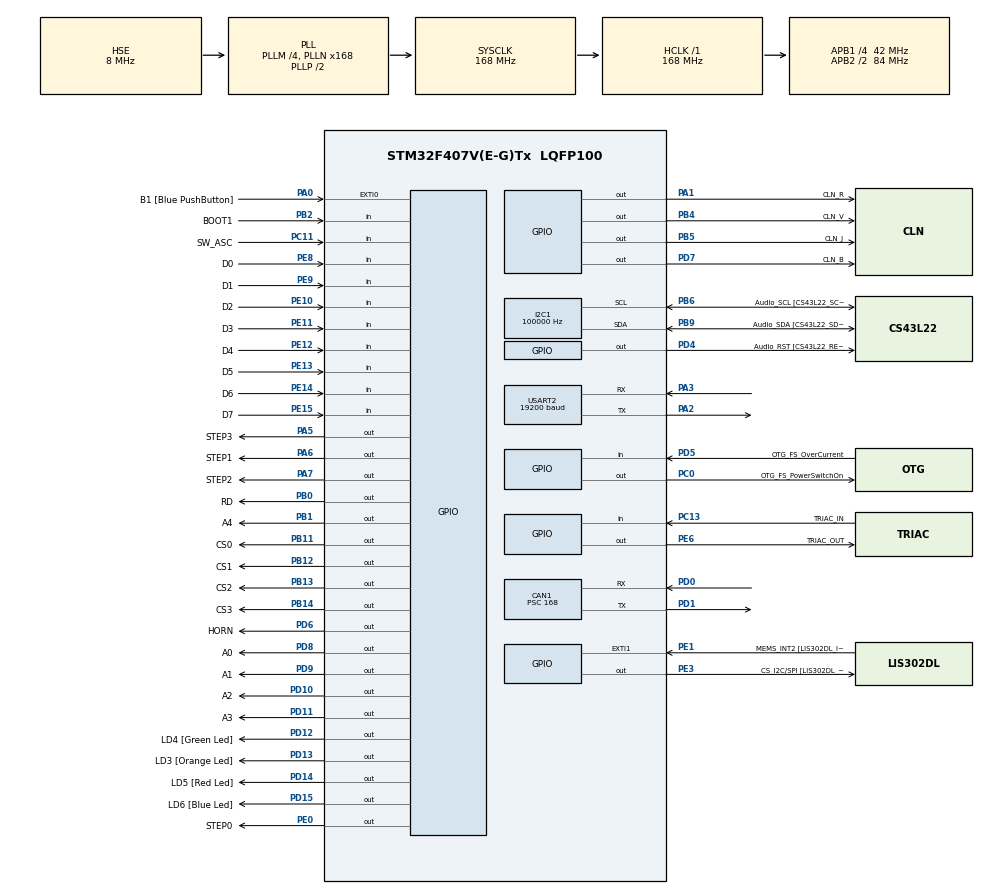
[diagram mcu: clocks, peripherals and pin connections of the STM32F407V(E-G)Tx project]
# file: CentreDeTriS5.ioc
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CAN1.ABOM=ENABLE
CAN1.AWUM=DISABLE
CAN1.BS1=CAN_BS1_3TQ
CAN1.CalculateTimeQuantum=4000.0
CAN1.Prescaler=168
I2C1.ClockSpeed=100000
Mcu.Family=STM32F4
Mcu.Name=STM32F407V(E-G)Tx
Mcu.Package=LQFP100
<<<<<<< HEAD
=======
>>>>>>> 4da58d318c6ea7a702745249341195bc18bc6aac
NVIC.PriorityGroup=NVIC_PRIORITYGROUP_0
NVIC.TIM6_DAC_IRQn=true\:0\:0\:false\:false\:true\:true\:true
PA0-WKUP.GPIO_Label=B1 [Blue PushButton]
PA0-WKUP.Signal=GPXTI0
PA1.GPIO_Label=CLN_R
PA1.Signal=GPIO_Output
PA10.GPIO_Label=OTG_FS_ID
PA10.GPIO_Mode=GPIO_MODE_AF_PP
PA10.GPIO_PuPd=GPIO_NOPULL
PA10.GPIO_Speed=GPIO_SPEED_FREQ_LOW
PA10.Signal=USB_OTG_FS_ID
PA11.GPIO_Label=OTG_FS_DM
PA11.GPIO_Mode=GPIO_MODE_AF_PP
PA11.GPIO_PuPd=GPIO_NOPULL
PA11.GPIO_Speed=GPIO_SPEED_FREQ_LOW
PA11.Signal=USB_OTG_FS_DM
PA12.GPIO_Label=OTG_FS_DP
PA12.GPIO_Mode=GPIO_MODE_AF_PP
PA12.GPIO_PuPd=GPIO_NOPULL
PA12.GPIO_Speed=GPIO_SPEED_FREQ_LOW
PA12.Signal=USB_OTG_FS_DP
PA13.GPIO_Label=SWDIO
PA13.Signal=SYS_JTMS-SWDIO
PA14.GPIO_Label=SWCLK
PA14.Signal=SYS_JTCK-SWCLK
PA2.Mode=Asynchronous
PA2.Signal=USART2_TX
PA3.Mode=Asynchronous
PA3.Signal=USART2_RX
PA4.GPIO_Label=I2S3_WS [CS43L22_LRCK]
PA4.GPIO_Mode=GPIO_MODE_AF_PP
PA4.GPIO_PuPd=GPIO_NOPULL
PA4.GPIO_Speed=GPIO_SPEED_FREQ_LOW
PA4.Signal=I2S3_WS
PA5.GPIO_Label=STEP3
PA5.Signal=GPIO_Output
PA6.GPIO_Label=STEP1
PA6.Signal=GPIO_Output
PA7.GPIO_Label=STEP2
PA7.Signal=GPIO_Output
PA9.GPIO_Label=VBUS_FS
PA9.GPIO_Mode=GPIO_MODE_INPUT
PA9.GPIO_PuPd=GPIO_NOPULL
PA9.Signal=USB_OTG_FS_VBUS
PB0.GPIO_Label=RD
PB0.Signal=GPIO_Output
PB1.GPIO_Label=A4
PB1.Signal=GPIO_Output
PB10.GPIO_Label=CLK_IN [MP45DT02_CLK]
PB10.GPIO_Mode=GPIO_MODE_AF_PP
PB10.GPIO_PuPd=GPIO_NOPULL
PB10.GPIO_Speed=GPIO_SPEED_FREQ_LOW
PB10.Signal=I2S2_CK
PB11.GPIO_Label=CS0
PB11.Signal=GPIO_Output
PB12.GPIO_Label=CS1
PB12.Signal=GPIO_Output
PB13.GPIO_Label=CS2
PB13.Signal=GPIO_Output
PB14.GPIO_Label=CS3
PB14.Signal=GPIO_Output
PB2.GPIO_Label=BOOT1
PB2.GPIO_Mode=GPIO_MODE_INPUT
PB2.GPIO_PuPd=GPIO_NOPULL
PB2.Signal=GPIO_Input
PB3.GPIO_Label=SWO
PB3.Signal=SYS_JTDO-SWO
PB4.GPIO_Label=CLN_V
PB4.Signal=GPIO_Output
PB5.GPIO_Label=CLN_J
PB5.Signal=GPIO_Output
PB6.GPIO_Label=Audio_SCL [CS43L22_SCL]
PB6.GPIO_Mode=GPIO_MODE_AF_OD
PB6.GPIO_PuPd=GPIO_NOPULL
PB6.GPIO_Speed=GPIO_SPEED_FREQ_LOW
PB6.Mode=I2C
PB6.Signal=I2C1_SCL
PB9.GPIO_Label=Audio_SDA [CS43L22_SDA]
PB9.GPIO_Mode=GPIO_MODE_AF_OD
PB9.GPIO_PuPd=GPIO_NOPULL
PB9.GPIO_Speed=GPIO_SPEED_FREQ_LOW
PB9.Mode=I2C
PB9.Signal=I2C1_SDA
PC0.GPIO_Label=OTG_FS_PowerSwitchOn
PC0.GPIO_PuPd=GPIO_NOPULL
PC0.GPIO_Speed=GPIO_SPEED_FREQ_LOW
PC0.PinState=GPIO_PIN_SET
PC0.Signal=GPIO_Output
PC10.GPIO_Label=I2S3_SCK [CS43L22_SCLK]
PC10.GPIO_Mode=GPIO_MODE_AF_PP
PC10.GPIO_PuPd=GPIO_NOPULL
PC10.GPIO_Speed=GPIO_SPEED_FREQ_LOW
PC10.Signal=I2S3_CK
<<<<<<< HEAD
PC11.GPIO_Label=SW_ASC
=======
>>>>>>> 4da58d318c6ea7a702745249341195bc18bc6aac
PC11.Signal=GPIO_Input
PC12.GPIO_Label=I2S3_SD [CS43L22_SDIN]
PC12.GPIO_Mode=GPIO_MODE_AF_PP
PC12.GPIO_PuPd=GPIO_NOPULL
PC12.GPIO_Speed=GPIO_SPEED_FREQ_LOW
PC12.Signal=I2S3_SD
PC13-ANTI_TAMP.GPIO_Label=TRIAC_IN
PC13-ANTI_TAMP.Signal=GPIO_Input
PC14-OSC32_IN.GPIO_Label=PC14-OSC32_IN
PC14-OSC32_IN.Signal=RCC_OSC32_IN
PC15-OSC32_OUT.GPIO_Label=PC15-OSC32_OUT
PC15-OSC32_OUT.Signal=RCC_OSC32_OUT
PC3.GPIO_Label=PDM_OUT [MP45DT02_DOUT]
PC3.GPIO_Mode=GPIO_MODE_AF_PP
PC3.GPIO_PuPd=GPIO_NOPULL
PC3.GPIO_Speed=GPIO_SPEED_FREQ_LOW
PC3.Signal=I2S2_SD
PC7.GPIO_Label=I2S3_MCK [CS43L22_MCLK]
PC7.GPIO_Mode=GPIO_MODE_AF_PP
PC7.GPIO_PuPd=GPIO_NOPULL
PC7.GPIO_Speed=GPIO_SPEED_FREQ_LOW
PC7.Signal=I2S3_MCK
PD0.Mode=Master
PD0.Signal=CAN1_RX
PD1.Mode=Master
PD1.Signal=CAN1_TX
PD10.GPIO_Label=A2
PD10.Signal=GPIO_Output
PD11.GPIO_Label=A3
PD11.Signal=GPIO_Output
PD12.GPIO_Label=LD4 [Green Led]
PD12.GPIO_PuPd=GPIO_NOPULL
PD12.GPIO_Speed=GPIO_SPEED_FREQ_LOW
PD12.Signal=GPIO_Output
PD13.GPIO_Label=LD3 [Orange Led]
PD13.GPIO_PuPd=GPIO_NOPULL
PD13.GPIO_Speed=GPIO_SPEED_FREQ_LOW
PD13.Signal=GPIO_Output
PD14.GPIO_Label=LD5 [Red Led]
PD14.GPIO_PuPd=GPIO_NOPULL
PD14.GPIO_Speed=GPIO_SPEED_FREQ_LOW
PD14.Signal=GPIO_Output
PD15.GPIO_Label=LD6 [Blue Led]
PD15.GPIO_PuPd=GPIO_NOPULL
PD15.GPIO_Speed=GPIO_SPEED_FREQ_LOW
PD15.Signal=GPIO_Output
PD4.GPIO_Label=Audio_RST [CS43L22_RESET]
PD4.GPIO_PuPd=GPIO_NOPULL
PD4.GPIO_Speed=GPIO_SPEED_FREQ_LOW
PD4.Signal=GPIO_Output
PD5.GPIO_Label=OTG_FS_OverCurrent
PD5.GPIO_Mode=GPIO_MODE_INPUT
PD5.GPIO_PuPd=GPIO_NOPULL
PD5.Signal=GPIO_Input
PD6.GPIO_Label=HORN
PD6.Signal=GPIO_Output
PD7.GPIO_Label=CLN_B
PD7.Signal=GPIO_Output
PD8.GPIO_Label=A0
PD8.Signal=GPIO_Output
PD9.GPIO_Label=A1
PD9.Signal=GPIO_Output
PE0.GPIO_Label=STEP0
PE0.Signal=GPIO_Output
PE1.GPIO_Label=MEMS_INT2 [LIS302DL_INT2]
PE1.GPIO_ModeDefaultEXTI=GPIO_MODE_EVT_RISING
PE1.GPIO_PuPd=GPIO_NOPULL
PE1.Signal=GPXTI1
PE10.GPIO_Label=D2
PE10.Signal=GPIO_Input
PE11.GPIO_Label=D3
PE11.Signal=GPIO_Input
PE12.GPIO_Label=D4
PE12.Signal=GPIO_Input
PE13.GPIO_Label=D5
PE13.Signal=GPIO_Input
PE14.GPIO_Label=D6
PE14.Signal=GPIO_Input
PE15.GPIO_Label=D7
PE15.Signal=GPIO_Input
PE3.GPIO_Label=CS_I2C/SPI [LIS302DL_CS_I2C/SPI]
PE3.GPIO_PuPd=GPIO_NOPULL
PE3.GPIO_Speed=GPIO_SPEED_FREQ_LOW
PE3.Signal=GPIO_Output
PE6.GPIO_Label=TRIAC_OUT
PE6.Signal=GPIO_Output
PE8.GPIO_Label=D0
PE8.Signal=GPIO_Input
PE9.GPIO_Label=D1
PE9.Signal=GPIO_Input
PH0-OSC_IN.GPIO_Label=PH0-OSC_IN
PH0-OSC_IN.Mode=HSE-External-Oscillator
PH0-OSC_IN.Signal=RCC_OSC_IN
PH1-OSC_OUT.GPIO_Label=PH1-OSC_OUT
PH1-OSC_OUT.Mode=HSE-External-Oscillator
PH1-OSC_OUT.Signal=RCC_OSC_OUT
ProjectManager.HeapSize=0x1100
ProjectManager.StackSize=0x1000
ProjectManager.TargetToolchain=EWARM V7
RCC.48MHZClocksFreq_Value=48000000
RCC.AHBFreq_Value=168000000
RCC.APB1CLKDivider=RCC_HCLK_DIV4
RCC.APB1Freq_Value=42000000
RCC.APB1TimFreq_Value=84000000
RCC.APB2CLKDivider=RCC_HCLK_DIV2
RCC.APB2Freq_Value=84000000
RCC.APB2TimFreq_Value=168000000
RCC.CortexFreq_Value=168000000
RCC.HCLKFreq_Value=168000000
RCC.HSE_VALUE=8000000
RCC.HSI_VALUE=16000000
RCC.LSE_VALUE=32768
RCC.PLLM=4
RCC.PLLN=168
RCC.PLLQ=7
RCC.PLLSourceVirtual=RCC_PLLSOURCE_HSE
RCC.SYSCLKFreq_VALUE=168000000
RCC.SYSCLKSource=RCC_SYSCLKSOURCE_PLLCLK
RCC.VCOOutputFreq_Value=336000000
TIM6.Period=PILOTETIMER6UP_COMPTE_MAXIMAL
TIM6.TIM_MasterOutputTrigger=TIM_TRGO_ENABLE
USART2.BaudRate=19200
USART2.VirtualMode=VM_ASYNC
VP_TIM6_VS_ClockSourceINT.Mode=Enable_Timer
board=STM32F407G-DISC1

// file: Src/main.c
/* USER CODE BEGIN Header */
/**
 ******************************************************************************
 * @file           : main.c
 * @brief          : Main program body
 ******************************************************************************
 * @attention
 *
 * <h2><center>&copy; Copyright (c) 2019 STMicroelectronics.
 * All rights reserved.</center></h2>
 *
 * This software component is licensed by ST under BSD 3-Clause license,
 * the "License"; You may not use this file except in compliance with the
 * License. You may obtain a copy of the License at:
 *                        opensource.org/licenses/BSD-3-Clause
 *
 ******************************************************************************
 */
/* USER CODE END Header */

#include "main.h"

/* USER CODE BEGIN Includes */
// S-0010:
// Historique:
//  2019-10-27, Yves Roy, creation

// notes sur l'utilisation des timers.
//  https://www.st.com/content/ccc/resource/technical/document/application_note/group0/91/01/84/3f/7c/67/41/3f/DM00236305/files/DM00236305.pdf/jcr:content/translations/en.DM00236305.pdf
// https://stm32f4-discovery.net/2014/05/stm32f4-stm32f429-discovery-pwm-tutorial/
// timer 6 sur APB1
// timer_tick_frequency = Timer_default_frequency / (prescaller_set + 1)
// default_frequency = 84MHz compte tenu des options choisies avec le "cube"
// TIM_Period = timer_tick_frequency / TIM_frequency - 1
// il faut s'assurer que le compte pour la periode est plus petit que 65536

#include "piloteTimer6Up.h"
#include "piloteCAN1.h"
#include "piloteUSART2.h"
#include "piloteIOB1.h"
#include "piloteIOT1.h"
#include "piloteIOT2.h"
#include "piloteIOT3.h"
#include "piloteIOT4.h"
#include "serviceBaseDeTemps.h"
//#include "serviceProtocole637.h"
#include "interfaceB1.h"
#include "interfaceT1.h"
#include "interfaceT2.h"
#include "interfaceT3.h"
#include "interfaceT4.h"
//#include "processusBoutonConnecte.h"
#include "processusUsine.h"
#include "interfaceUsine.h"
#include "interfaceAscenseur.h"
#include "piloteLcd.h"
#include "interfaceLcd.h"
#include "interfaceCAN1.h"
#include "ServiceCommunication.h"
#include "interfaceColonne.h"
#include "piloteColonne.h"
#include "interfaceB1.h"
#include "interfaceStepMoteur.h"
#include "piloteStepMoteur.h"
//#include "stm32f4xx_hal_conf.h"
//#include "stm32f4xx_it.h"
/* USER CODE END Includes */

#define JAUNE  STEP0_Pin
#define BLANC  STEP1_Pin
#define ORANGE STEP2_Pin
#define ROUGE  STEP3_Pin

/* USER CODE END PTD */

CAN_HandleTypeDef hcan1;

I2C_HandleTypeDef hi2c1;

TIM_HandleTypeDef htim6;

UART_HandleTypeDef huart2;

/* USER CODE BEGIN PV */
/* Private variables ---------------------------------------------------------*/

/* USER CODE END PV */

void SystemClock_Config(void);
static void MX_GPIO_Init(void);
static void MX_USART2_UART_Init(void);
static void MX_TIM6_Init(void);
static void MX_CAN1_Init(void);
static void MX_I2C1_Init(void);
/* USER CODE BEGIN PFP */
/* Private function prototypes -----------------------------------------------*/
void main_initialiseAvantLeHAL(void);
void main_initialiseApresLeHAL(void);

/* USER CODE END PFP */

/* USER CODE BEGIN 0 */
void main_initialiseAvantLeHAL(void)
{
  piloteTimer6Up_initialise();
<<<<<<< HEAD
  serviceBaseDeTemps_initialise();
  // piloteCAN1_initialise(); //irait ici en temps normal... mais il y a un bug dans le cube
  // piloteUSART2_initialise();
  piloteIOB1_initialise();
  piloteIOT1_initialise();
  piloteIOT2_initialise();
  piloteIOT3_initialise();
  piloteIOT4_initialise();

  interfaceT1_initialise();
  interfaceT2_initialise();
  interfaceT3_initialise();
  interfaceT4_initialise();

  interfaceB1_initialise();
  interfaceColonne_initialise();
  interfaceUsine_Initialise();
  interfaceStepMoteur_initialise();
=======
//  serviceBaseDeTemps_initialise();
//  // piloteCAN1_initialise(); //irait ici en temps normal... mais il y a un bug dans le cube
//  // piloteUSART2_initialise();
//  piloteIOB1_initialise();
//  piloteIOT1_initialise();
//  piloteIOT2_initialise();
//  piloteIOT3_initialise();
//  piloteIOT4_initialise();
//
//  interfaceT1_initialise();
//  interfaceT2_initialise();
//  interfaceT3_initialise();
//  interfaceT4_initialise();
//  interfaceAscenseur_initialise();
//
//  interfaceB1_initialise();
//  interfaceColonne_initialise();
//  interfaceUsine_Initialise();
>>>>>>> 4da58d318c6ea7a702745249341195bc18bc6aac
}

void main_initialiseApresLeHAL(void)
{

  piloteTimer6Up_permetLesInterruptions();
  piloteCAN1_initialise();
  ServiceCommunication_initialise();
  vInitGLcd();
  interfaceLcd_Clear_Swipe(0);
  processusUsine_initialise();
}

void neFaitRien(void)
{
}

// Variables globales
bool bFlagUpdateMessageEcran;
bool bFlagUpdateEtatEcran;
bool bFlagUpdateModeEcran;
bool flagTexteFini = 0;
char messageEcran[40];
char etatEcran[20];
char modeEcran[20];
/* USER CODE END 0 */

int main(void)
{
  /* USER CODE BEGIN 1 */
  main_initialiseAvantLeHAL();

  /* USER CODE END 1 */

  /* MCU Configuration--------------------------------------------------------*/

  /* Reset of all peripherals, Initializes the Flash interface and the Systick. */
  HAL_Init();

  /* Configure the system clock */
  SystemClock_Config();

  /* Initialize all configured peripherals */
  MX_GPIO_Init();
  MX_USART2_UART_Init();
  MX_TIM6_Init();
  MX_CAN1_Init();
  MX_I2C1_Init();
  /* USER CODE BEGIN 2 */
  main_initialiseApresLeHAL();

  /* USER CODE END 2 */

  /* Infinite loop */
  /* USER CODE BEGIN WHILE */
<<<<<<< HEAD
  interfaceColonne_allume(INTERFACECOLONNE_ROUGE);
  interfaceColonne_allume(INTERFACECOLONNE_VERT);
  interfaceColonne_allume(INTERFACECOLONNE_JAUNE);

  interfaceLcd_Draw_Shape_RectF(0,43,128,2,1);
  interfaceLcd_Draw_Shape_RectF(0,27,128,2,1);
  interfaceLcd_Draw_Shape_RectF(0,11,128,2,1);
  vPutStringGLcd("Mode:               ", 4, 5);
  vPutStringGLcd("Etat:Attend Bouton  ", 2, 5);
  //unsigned char oldBruh = 0;
  while (1)
  {
    piloteTimer6Up_permetLesInterruptions();

=======
//  interfaceColonne_allume(INTERFACECOLONNE_ROUGE);
//  interfaceColonne_allume(INTERFACECOLONNE_VERT);
//  interfaceColonne_allume(INTERFACECOLONNE_JAUNE);
//
//
//  interfaceLcd_Draw_Shape_RectF(0,0,127,10,1);
//  interfaceLcd_Draw_Shape_RectF(0,43,128,2,1);
//  interfaceLcd_Draw_Shape_RectF(0,27,128,2,1);
//  vPutStringGLcd("Mode:               ", 4, 5);
//  vPutStringGLcd("Etat:Attend Bouton  ", 2, 5);
  unsigned char oldBruh = 0;

  while (1)
  {
    if(oldBruh == 1)
    {
    HAL_GPIO_WritePin(STEP0_GPIO_Port, STEP0_Pin, (GPIO_PinState)0);  //1
    HAL_GPIO_WritePin(STEP1_GPIO_Port, STEP1_Pin, (GPIO_PinState)0);
    HAL_GPIO_WritePin(STEP2_GPIO_Port, STEP2_Pin, (GPIO_PinState)0);
    HAL_GPIO_WritePin(STEP3_GPIO_Port, STEP3_Pin, (GPIO_PinState)1);
    HAL_Delay(100);//descend
    HAL_GPIO_WritePin(STEP0_GPIO_Port, STEP0_Pin, (GPIO_PinState)0);  //2
    HAL_GPIO_WritePin(STEP1_GPIO_Port, STEP1_Pin, (GPIO_PinState)0);
    HAL_GPIO_WritePin(STEP2_GPIO_Port, STEP2_Pin, (GPIO_PinState)1);
    HAL_GPIO_WritePin(STEP3_GPIO_Port, STEP3_Pin, (GPIO_PinState)0);
    HAL_Delay(100);
    HAL_GPIO_WritePin(STEP0_GPIO_Port, STEP0_Pin, (GPIO_PinState)0);  //3
    HAL_GPIO_WritePin(STEP1_GPIO_Port, STEP1_Pin, (GPIO_PinState)1);
    HAL_GPIO_WritePin(STEP2_GPIO_Port, STEP2_Pin, (GPIO_PinState)0);
    HAL_GPIO_WritePin(STEP3_GPIO_Port, STEP3_Pin, (GPIO_PinState)0);
    HAL_Delay(100);
    HAL_GPIO_WritePin(STEP0_GPIO_Port, STEP0_Pin, (GPIO_PinState)1);  //4
    HAL_GPIO_WritePin(STEP1_GPIO_Port, STEP1_Pin, (GPIO_PinState)0);
    HAL_GPIO_WritePin(STEP2_GPIO_Port, STEP2_Pin, (GPIO_PinState)0);
    HAL_GPIO_WritePin(STEP3_GPIO_Port, STEP3_Pin, (GPIO_PinState)0);
    HAL_Delay(100);
    }
    else
    {
    HAL_GPIO_WritePin(STEP0_GPIO_Port, STEP0_Pin, (GPIO_PinState)1);  //1
    HAL_GPIO_WritePin(STEP1_GPIO_Port, STEP1_Pin, (GPIO_PinState)0);
    HAL_GPIO_WritePin(STEP2_GPIO_Port, STEP2_Pin, (GPIO_PinState)0);
    HAL_GPIO_WritePin(STEP3_GPIO_Port, STEP3_Pin, (GPIO_PinState)0);
    HAL_Delay(100);
    HAL_GPIO_WritePin(STEP0_GPIO_Port, STEP0_Pin, (GPIO_PinState)0);  //1
    HAL_GPIO_WritePin(STEP1_GPIO_Port, STEP1_Pin, (GPIO_PinState)1);
    HAL_GPIO_WritePin(STEP2_GPIO_Port, STEP2_Pin, (GPIO_PinState)0);
    HAL_GPIO_WritePin(STEP3_GPIO_Port, STEP3_Pin, (GPIO_PinState)0);
    HAL_Delay(100);
    HAL_GPIO_WritePin(STEP0_GPIO_Port, STEP0_Pin, (GPIO_PinState)0);  //1
    HAL_GPIO_WritePin(STEP1_GPIO_Port, STEP1_Pin, (GPIO_PinState)0);
    HAL_GPIO_WritePin(STEP2_GPIO_Port, STEP2_Pin, (GPIO_PinState)1);
    HAL_GPIO_WritePin(STEP3_GPIO_Port, STEP3_Pin, (GPIO_PinState)0);
    HAL_Delay(100);
    HAL_GPIO_WritePin(STEP0_GPIO_Port, STEP0_Pin, (GPIO_PinState)0);  //1
    HAL_GPIO_WritePin(STEP1_GPIO_Port, STEP1_Pin, (GPIO_PinState)0);
    HAL_GPIO_WritePin(STEP2_GPIO_Port, STEP2_Pin, (GPIO_PinState)0);
    HAL_GPIO_WritePin(STEP3_GPIO_Port, STEP3_Pin, (GPIO_PinState)1);
    HAL_Delay(100);//descend
    }
  }

    /*
>>>>>>> 4da58d318c6ea7a702745249341195bc18bc6aac
    //Test du step moteur
    /*
    piloteStepMoteur_EcritSortie(PILOTESTEPMOTEUR_STEP0, PILOTESTEPMOTEUR_ACTIVE);
    piloteStepMoteur_EcritSortie(PILOTESTEPMOTEUR_STEP1, PILOTESTEPMOTEUR_ACTIVE);
    piloteStepMoteur_EcritSortie(PILOTESTEPMOTEUR_STEP2, PILOTESTEPMOTEUR_ACTIVE);
    piloteStepMoteur_EcritSortie(PILOTESTEPMOTEUR_STEP3, PILOTESTEPMOTEUR_ACTIVE);
    */
<<<<<<< HEAD
    if (bFlagUpdateMessageEcran)
    {
      flagTexteFini = 0;
      for (int i = 0; i <= 39; i++)
      {
        if (i <= 19)
        {
          if (!flagTexteFini)vPutCharGLcd(messageEcran[i], 6, i, 5);
          else vPutCharGLcd(' ', 6, i, 5);
        }
        else if (i <= (39))
        {
          if (!flagTexteFini)vPutCharGLcd(messageEcran[i], 7, i - 20, 5);
          else vPutCharGLcd(' ', 7, i - 20, 5);
        }
        if (messageEcran[i + 1] == '\0')flagTexteFini = 1;
      }
      bFlagUpdateMessageEcran = 0;
    }

    if (bFlagUpdateEtatEcran)
    {
      flagTexteFini = 0;
      for (int i = 0; i+5 <= 19; i++)
      {
        if (!flagTexteFini)vPutCharGLcd(etatEcran[i], 2, i+5, 5);
        else vPutCharGLcd(' ', 2, i+5, 5);
        if (etatEcran[i + 1] == '\0') flagTexteFini = 1;
      }
      bFlagUpdateEtatEcran = 0;
    }

    if (bFlagUpdateModeEcran)
    {
      flagTexteFini = 0;
      for (int i = 0; i+5 <= 19; i++)
      {
        if (!flagTexteFini)vPutCharGLcd(modeEcran[i], 4, i+5, 5);
        else vPutCharGLcd(' ', 4, i+5, 5);
        if (modeEcran[i + 1] == '\0') flagTexteFini = 1;
      }
      bFlagUpdateModeEcran = 0;
    }

    //Affichage de l'état du CAN
    if (!ModuleData.CantConnect) // Pas connecté
    {
      vPutStringGLcd("CAN Connected       ", 0, 5);
    }
    else
    {
      vPutStringGLcd("CAN Disconnected    ", 0, 5);
    }

    //interfaceLcd_Draw_Text_Integer(0,32,ModuleData.Mode,2,1);

    /* USER CODE END WHILE */

  }
=======
//    if (bFlagUpdateMessageEcran)
//    {
//      flagTexteFini = 0;
//      for (int i = 0; i <= 39; i++)
//      {
//        if (i <= 19)
//        {
//          if (!flagTexteFini)vPutCharGLcd(messageEcran[i], 6, i, 5);
//          else vPutCharGLcd(' ', 6, i, 5);
//        }
//        else if (i <= (39))
//        {
//          if (!flagTexteFini)vPutCharGLcd(messageEcran[i], 7, i - 20, 5);
//          else vPutCharGLcd(' ', 7, i - 20, 5);
//        }
//        if (messageEcran[i + 1] == '\0')flagTexteFini = 1;
//      }
//      bFlagUpdateMessageEcran = 0;
//    }
//
//    if (bFlagUpdateEtatEcran)
//    {
//      flagTexteFini = 0;
//      for (int i = 0; i+5 <= 19; i++)
//      {
//        if (!flagTexteFini)vPutCharGLcd(etatEcran[i], 2, i+5, 5);
//        else vPutCharGLcd(' ', 2, i+5, 5);
//        if (etatEcran[i + 1] == '\0') flagTexteFini = 1;
//      }
//      bFlagUpdateEtatEcran = 0;
//    }
//
//    if (bFlagUpdateModeEcran)
//    {
//      flagTexteFini = 0;
//      for (int i = 0; i+5 <= 19; i++)
//      {
//        if (!flagTexteFini)vPutCharGLcd(modeEcran[i], 4, i+5, 5);
//        else vPutCharGLcd(' ', 4, i+5, 5);
//        if (modeEcran[i + 1] == '\0') flagTexteFini = 1;
//      }
//      bFlagUpdateModeEcran = 0;
//    }
//
//    //Affichage de l'état du CAN
//    if (!ModuleData.CantConnect) // Pas connecté
//    {
//      vPutStringGLcdINV("CAN Connected       ", 0, 5);
//    }
//    else
//    {
//      vPutStringGLcdINV("CAN Disconnected    ", 0, 5);
//    }
//
//     if (piloteCAN1_messageDisponible()) // Pas connecté
//    {
//      //vPutStringGLcdINV("Message disponible  ", 2, 5);
//    }
//    else
//    {
//      //vPutStringGLcdINV("No Message?         ", 2, 5);
//    }
//
//    if(true)
//    {
//      unsigned int bruh = piloteCAN1_litLesErreurs();
//      static unsigned char index = 0;
//
//      if(bruh != oldBruh)
//      {
//        interfaceLcd_Draw_Text_Integer(32,16+(6*index),bruh,3,1);
//        index++;
//        oldBruh = bruh;
//      }
//    }
//
//    //interfaceLcd_Draw_Text_Integer(0,32,ModuleData.Mode,2,1);
//
//    /* USER CODE END WHILE */
//
//    /* USER CODE BEGIN 3 */
//  }
//  /* USER CODE END 3 */

>>>>>>> 4da58d318c6ea7a702745249341195bc18bc6aac
}

void SystemClock_Config(void)
{
  RCC_OscInitTypeDef RCC_OscInitStruct = {0};
  RCC_ClkInitTypeDef RCC_ClkInitStruct = {0};

  /** Configure the main internal regulator output voltage
  */
  __HAL_RCC_PWR_CLK_ENABLE();
  __HAL_PWR_VOLTAGESCALING_CONFIG(PWR_REGULATOR_VOLTAGE_SCALE1);
  /** Initializes the CPU, AHB and APB busses clocks
  */
  RCC_OscInitStruct.OscillatorType = RCC_OSCILLATORTYPE_HSE;
  RCC_OscInitStruct.HSEState = RCC_HSE_ON;
  RCC_OscInitStruct.PLL.PLLState = RCC_PLL_ON;
  RCC_OscInitStruct.PLL.PLLSource = RCC_PLLSOURCE_HSE;
  RCC_OscInitStruct.PLL.PLLM = 4;
  RCC_OscInitStruct.PLL.PLLN = 168;
  RCC_OscInitStruct.PLL.PLLP = RCC_PLLP_DIV2;
  RCC_OscInitStruct.PLL.PLLQ = 7;
  if (HAL_RCC_OscConfig(&RCC_OscInitStruct) != HAL_OK)
  {
    Error_Handler();
  }
  /** Initializes the CPU, AHB and APB busses clocks
  */
  RCC_ClkInitStruct.ClockType = RCC_CLOCKTYPE_HCLK|RCC_CLOCKTYPE_SYSCLK
                              |RCC_CLOCKTYPE_PCLK1|RCC_CLOCKTYPE_PCLK2;
  RCC_ClkInitStruct.SYSCLKSource = RCC_SYSCLKSOURCE_PLLCLK;
  RCC_ClkInitStruct.AHBCLKDivider = RCC_SYSCLK_DIV1;
  RCC_ClkInitStruct.APB1CLKDivider = RCC_HCLK_DIV4;
  RCC_ClkInitStruct.APB2CLKDivider = RCC_HCLK_DIV2;

  if (HAL_RCC_ClockConfig(&RCC_ClkInitStruct, FLASH_LATENCY_5) != HAL_OK)
  {
    Error_Handler();
  }
}

static void MX_CAN1_Init(void)
{

  hcan1.Instance = CAN1;
  hcan1.Init.Prescaler = 168;
  hcan1.Init.Mode = CAN_MODE_NORMAL;
  hcan1.Init.SyncJumpWidth = CAN_SJW_1TQ;
  hcan1.Init.TimeSeg1 = CAN_BS1_3TQ;
  hcan1.Init.TimeSeg2 = CAN_BS2_1TQ;
  hcan1.Init.TimeTriggeredMode = DISABLE;
  hcan1.Init.AutoBusOff = ENABLE;
  hcan1.Init.AutoWakeUp = DISABLE;
  hcan1.Init.AutoRetransmission = DISABLE;
  hcan1.Init.ReceiveFifoLocked = DISABLE;
  hcan1.Init.TransmitFifoPriority = DISABLE;
  if (HAL_CAN_Init(&hcan1) != HAL_OK)
  {
    Error_Handler();
  }

}

static void MX_I2C1_Init(void)
{

  hi2c1.Instance = I2C1;
  hi2c1.Init.ClockSpeed = 100000;
  hi2c1.Init.DutyCycle = I2C_DUTYCYCLE_2;
  hi2c1.Init.OwnAddress1 = 0;
  hi2c1.Init.AddressingMode = I2C_ADDRESSINGMODE_7BIT;
  hi2c1.Init.DualAddressMode = I2C_DUALADDRESS_DISABLE;
  hi2c1.Init.OwnAddress2 = 0;
  hi2c1.Init.GeneralCallMode = I2C_GENERALCALL_DISABLE;
  hi2c1.Init.NoStretchMode = I2C_NOSTRETCH_DISABLE;
  if (HAL_I2C_Init(&hi2c1) != HAL_OK)
  {
    Error_Handler();
  }

}

static void MX_TIM6_Init(void)
{

  TIM_MasterConfigTypeDef sMasterConfig = {0};

  htim6.Instance = TIM6;
  htim6.Init.Prescaler = 0;
  htim6.Init.CounterMode = TIM_COUNTERMODE_UP;
  htim6.Init.Period = PILOTETIMER6UP_COMPTE_MAXIMAL;
  htim6.Init.AutoReloadPreload = TIM_AUTORELOAD_PRELOAD_DISABLE;
  if (HAL_TIM_Base_Init(&htim6) != HAL_OK)
  {
    Error_Handler();
  }
  sMasterConfig.MasterOutputTrigger = TIM_TRGO_ENABLE;
  sMasterConfig.MasterSlaveMode = TIM_MASTERSLAVEMODE_DISABLE;
  if (HAL_TIMEx_MasterConfigSynchronization(&htim6, &sMasterConfig) != HAL_OK)
  {
    Error_Handler();
  }

}

static void MX_USART2_UART_Init(void)
{

  huart2.Instance = USART2;
  huart2.Init.BaudRate = 19200;
  huart2.Init.WordLength = UART_WORDLENGTH_8B;
  huart2.Init.StopBits = UART_STOPBITS_1;
  huart2.Init.Parity = UART_PARITY_NONE;
  huart2.Init.Mode = UART_MODE_TX_RX;
  huart2.Init.HwFlowCtl = UART_HWCONTROL_NONE;
  huart2.Init.OverSampling = UART_OVERSAMPLING_16;
  if (HAL_UART_Init(&huart2) != HAL_OK)
  {
    Error_Handler();
  }

}

static void MX_GPIO_Init(void)
{
  GPIO_InitTypeDef GPIO_InitStruct = {0};

  /* GPIO Ports Clock Enable */
  __HAL_RCC_GPIOE_CLK_ENABLE();
  __HAL_RCC_GPIOC_CLK_ENABLE();
  __HAL_RCC_GPIOH_CLK_ENABLE();
  __HAL_RCC_GPIOA_CLK_ENABLE();
  __HAL_RCC_GPIOB_CLK_ENABLE();
  __HAL_RCC_GPIOD_CLK_ENABLE();

  /*Configure GPIO pin Output Level */
  HAL_GPIO_WritePin(GPIOE, CS_I2C_SPI_Pin|TRIAC_OUT_Pin|STEP0_Pin, GPIO_PIN_RESET);

  /*Configure GPIO pin Output Level */
  HAL_GPIO_WritePin(OTG_FS_PowerSwitchOn_GPIO_Port, OTG_FS_PowerSwitchOn_Pin, GPIO_PIN_SET);

  /*Configure GPIO pin Output Level */
  HAL_GPIO_WritePin(GPIOA, CLN_R_Pin|STEP3_Pin|STEP1_Pin|STEP2_Pin, GPIO_PIN_RESET);

  /*Configure GPIO pin Output Level */
  HAL_GPIO_WritePin(GPIOB, RD_Pin|A4_Pin|CS0_Pin|CS1_Pin
                          |CS2_Pin|CS3_Pin|CLN_V_Pin|CLN_J_Pin, GPIO_PIN_RESET);

  /*Configure GPIO pin Output Level */
  HAL_GPIO_WritePin(GPIOD, A0_Pin|A1_Pin|A2_Pin|A3_Pin
                          |LD4_Pin|LD3_Pin|LD5_Pin|LD6_Pin
                          |Audio_RST_Pin|HORN_Pin|CLN_B_Pin, GPIO_PIN_RESET);

  /*Configure GPIO pins : CS_I2C_SPI_Pin TRIAC_OUT_Pin STEP0_Pin */
  GPIO_InitStruct.Pin = CS_I2C_SPI_Pin|TRIAC_OUT_Pin|STEP0_Pin;
  GPIO_InitStruct.Mode = GPIO_MODE_OUTPUT_PP;
  GPIO_InitStruct.Pull = GPIO_NOPULL;
  GPIO_InitStruct.Speed = GPIO_SPEED_FREQ_LOW;
  HAL_GPIO_Init(GPIOE, &GPIO_InitStruct);

<<<<<<< HEAD
  /*Configure GPIO pins : TRIAC_IN_Pin SW_ASC_Pin */
  GPIO_InitStruct.Pin = TRIAC_IN_Pin|SW_ASC_Pin;
=======
  /*Configure GPIO pins : TRIAC_IN_Pin PC11 */
  GPIO_InitStruct.Pin = TRIAC_IN_Pin|GPIO_PIN_11;
>>>>>>> 4da58d318c6ea7a702745249341195bc18bc6aac
  GPIO_InitStruct.Mode = GPIO_MODE_INPUT;
  GPIO_InitStruct.Pull = GPIO_NOPULL;
  HAL_GPIO_Init(GPIOC, &GPIO_InitStruct);

  /*Configure GPIO pin : OTG_FS_PowerSwitchOn_Pin */
  GPIO_InitStruct.Pin = OTG_FS_PowerSwitchOn_Pin;
  GPIO_InitStruct.Mode = GPIO_MODE_OUTPUT_PP;
  GPIO_InitStruct.Pull = GPIO_NOPULL;
  GPIO_InitStruct.Speed = GPIO_SPEED_FREQ_LOW;
  HAL_GPIO_Init(OTG_FS_PowerSwitchOn_GPIO_Port, &GPIO_InitStruct);

  /*Configure GPIO pin : PDM_OUT_Pin */
  GPIO_InitStruct.Pin = PDM_OUT_Pin;
  GPIO_InitStruct.Mode = GPIO_MODE_AF_PP;
  GPIO_InitStruct.Pull = GPIO_NOPULL;
  GPIO_InitStruct.Speed = GPIO_SPEED_FREQ_LOW;
  GPIO_InitStruct.Alternate = GPIO_AF5_SPI2;
  HAL_GPIO_Init(PDM_OUT_GPIO_Port, &GPIO_InitStruct);

  /*Configure GPIO pin : B1_Pin */
  GPIO_InitStruct.Pin = B1_Pin;
  GPIO_InitStruct.Mode = GPIO_MODE_IT_RISING;
  GPIO_InitStruct.Pull = GPIO_NOPULL;
  HAL_GPIO_Init(B1_GPIO_Port, &GPIO_InitStruct);

  /*Configure GPIO pins : CLN_R_Pin STEP3_Pin STEP1_Pin STEP2_Pin */
  GPIO_InitStruct.Pin = CLN_R_Pin|STEP3_Pin|STEP1_Pin|STEP2_Pin;
  GPIO_InitStruct.Mode = GPIO_MODE_OUTPUT_PP;
  GPIO_InitStruct.Pull = GPIO_NOPULL;
  GPIO_InitStruct.Speed = GPIO_SPEED_FREQ_LOW;
  HAL_GPIO_Init(GPIOA, &GPIO_InitStruct);

  /*Configure GPIO pin : I2S3_WS_Pin */
  GPIO_InitStruct.Pin = I2S3_WS_Pin;
  GPIO_InitStruct.Mode = GPIO_MODE_AF_PP;
  GPIO_InitStruct.Pull = GPIO_NOPULL;
  GPIO_InitStruct.Speed = GPIO_SPEED_FREQ_LOW;
  GPIO_InitStruct.Alternate = GPIO_AF6_SPI3;
  HAL_GPIO_Init(I2S3_WS_GPIO_Port, &GPIO_InitStruct);

  /*Configure GPIO pins : RD_Pin A4_Pin CS0_Pin CS1_Pin
                           CS2_Pin CS3_Pin CLN_V_Pin CLN_J_Pin */
  GPIO_InitStruct.Pin = RD_Pin|A4_Pin|CS0_Pin|CS1_Pin
                          |CS2_Pin|CS3_Pin|CLN_V_Pin|CLN_J_Pin;
  GPIO_InitStruct.Mode = GPIO_MODE_OUTPUT_PP;
  GPIO_InitStruct.Pull = GPIO_NOPULL;
  GPIO_InitStruct.Speed = GPIO_SPEED_FREQ_LOW;
  HAL_GPIO_Init(GPIOB, &GPIO_InitStruct);

  /*Configure GPIO pin : BOOT1_Pin */
  GPIO_InitStruct.Pin = BOOT1_Pin;
  GPIO_InitStruct.Mode = GPIO_MODE_INPUT;
  GPIO_InitStruct.Pull = GPIO_NOPULL;
  HAL_GPIO_Init(BOOT1_GPIO_Port, &GPIO_InitStruct);

  /*Configure GPIO pins : D0_Pin D1_Pin D2_Pin D3_Pin
                           D4_Pin D5_Pin D6_Pin D7_Pin */
  GPIO_InitStruct.Pin = D0_Pin|D1_Pin|D2_Pin|D3_Pin
                          |D4_Pin|D5_Pin|D6_Pin|D7_Pin;
  GPIO_InitStruct.Mode = GPIO_MODE_INPUT;
  GPIO_InitStruct.Pull = GPIO_NOPULL;
  HAL_GPIO_Init(GPIOE, &GPIO_InitStruct);

  /*Configure GPIO pin : CLK_IN_Pin */
  GPIO_InitStruct.Pin = CLK_IN_Pin;
  GPIO_InitStruct.Mode = GPIO_MODE_AF_PP;
  GPIO_InitStruct.Pull = GPIO_NOPULL;
  GPIO_InitStruct.Speed = GPIO_SPEED_FREQ_LOW;
  GPIO_InitStruct.Alternate = GPIO_AF5_SPI2;
  HAL_GPIO_Init(CLK_IN_GPIO_Port, &GPIO_InitStruct);

  /*Configure GPIO pins : A0_Pin A1_Pin A2_Pin A3_Pin
                           LD4_Pin LD3_Pin LD5_Pin LD6_Pin
                           Audio_RST_Pin HORN_Pin CLN_B_Pin */
  GPIO_InitStruct.Pin = A0_Pin|A1_Pin|A2_Pin|A3_Pin
                          |LD4_Pin|LD3_Pin|LD5_Pin|LD6_Pin
                          |Audio_RST_Pin|HORN_Pin|CLN_B_Pin;
  GPIO_InitStruct.Mode = GPIO_MODE_OUTPUT_PP;
  GPIO_InitStruct.Pull = GPIO_NOPULL;
  GPIO_InitStruct.Speed = GPIO_SPEED_FREQ_LOW;
  HAL_GPIO_Init(GPIOD, &GPIO_InitStruct);

  /*Configure GPIO pins : I2S3_MCK_Pin I2S3_SCK_Pin I2S3_SD_Pin */
  GPIO_InitStruct.Pin = I2S3_MCK_Pin|I2S3_SCK_Pin|I2S3_SD_Pin;
  GPIO_InitStruct.Mode = GPIO_MODE_AF_PP;
  GPIO_InitStruct.Pull = GPIO_NOPULL;
  GPIO_InitStruct.Speed = GPIO_SPEED_FREQ_LOW;
  GPIO_InitStruct.Alternate = GPIO_AF6_SPI3;
  HAL_GPIO_Init(GPIOC, &GPIO_InitStruct);

  /*Configure GPIO pin : VBUS_FS_Pin */
  GPIO_InitStruct.Pin = VBUS_FS_Pin;
  GPIO_InitStruct.Mode = GPIO_MODE_INPUT;
  GPIO_InitStruct.Pull = GPIO_NOPULL;
  HAL_GPIO_Init(VBUS_FS_GPIO_Port, &GPIO_InitStruct);

  /*Configure GPIO pins : OTG_FS_ID_Pin OTG_FS_DM_Pin OTG_FS_DP_Pin */
  GPIO_InitStruct.Pin = OTG_FS_ID_Pin|OTG_FS_DM_Pin|OTG_FS_DP_Pin;
  GPIO_InitStruct.Mode = GPIO_MODE_AF_PP;
  GPIO_InitStruct.Pull = GPIO_NOPULL;
  GPIO_InitStruct.Speed = GPIO_SPEED_FREQ_LOW;
  GPIO_InitStruct.Alternate = GPIO_AF10_OTG_FS;
  HAL_GPIO_Init(GPIOA, &GPIO_InitStruct);

  /*Configure GPIO pin : OTG_FS_OverCurrent_Pin */
  GPIO_InitStruct.Pin = OTG_FS_OverCurrent_Pin;
  GPIO_InitStruct.Mode = GPIO_MODE_INPUT;
  GPIO_InitStruct.Pull = GPIO_NOPULL;
  HAL_GPIO_Init(OTG_FS_OverCurrent_GPIO_Port, &GPIO_InitStruct);

  /*Configure GPIO pin : MEMS_INT2_Pin */
  GPIO_InitStruct.Pin = MEMS_INT2_Pin;
  GPIO_InitStruct.Mode = GPIO_MODE_EVT_RISING;
  GPIO_InitStruct.Pull = GPIO_NOPULL;
  HAL_GPIO_Init(MEMS_INT2_GPIO_Port, &GPIO_InitStruct);

}

/* USER CODE BEGIN 4 */

void updateMessageEcran(char const string[])
{
  bFlagUpdateMessageEcran = 1;
  for (int i = 0; i <= 39; i++)
  {
    messageEcran[i] = string[i];
    if (string[i] == '\0')
      return;
  }
}

void updateEtatEcran(char const string[])
{
  bFlagUpdateEtatEcran = 1;
  for (int i = 0; i <= 20; i++)
  {
    etatEcran[i] = string[i];
    if (string[i] == '\0')
      return;
  }
}

void updateModeEcran(char const string[])
{
  bFlagUpdateModeEcran = 1;
  for (int i = 0; i <= 20; i++)
  {
    modeEcran[i] = string[i];
    if (string[i] == '\0')
      return;
  }
}

/* USER CODE END 4 */

void Error_Handler(void)
{
  /* USER CODE BEGIN Error_Handler_Debug */
  /* User can add his own implementation to report the HAL error return state */
  while (1)
  {
    piloteCAN1_initialise();
    piloteTimer6Up_initialise();
    piloteTimer6Up_permetLesInterruptions();
    HAL_GPIO_WritePin(HORN_GPIO_Port, HORN_Pin, (GPIO_PinState)1);
  }
  /* USER CODE END Error_Handler_Debug */
}

/************************ (C) COPYRIGHT STMicroelectronics *****END OF FILE****/
